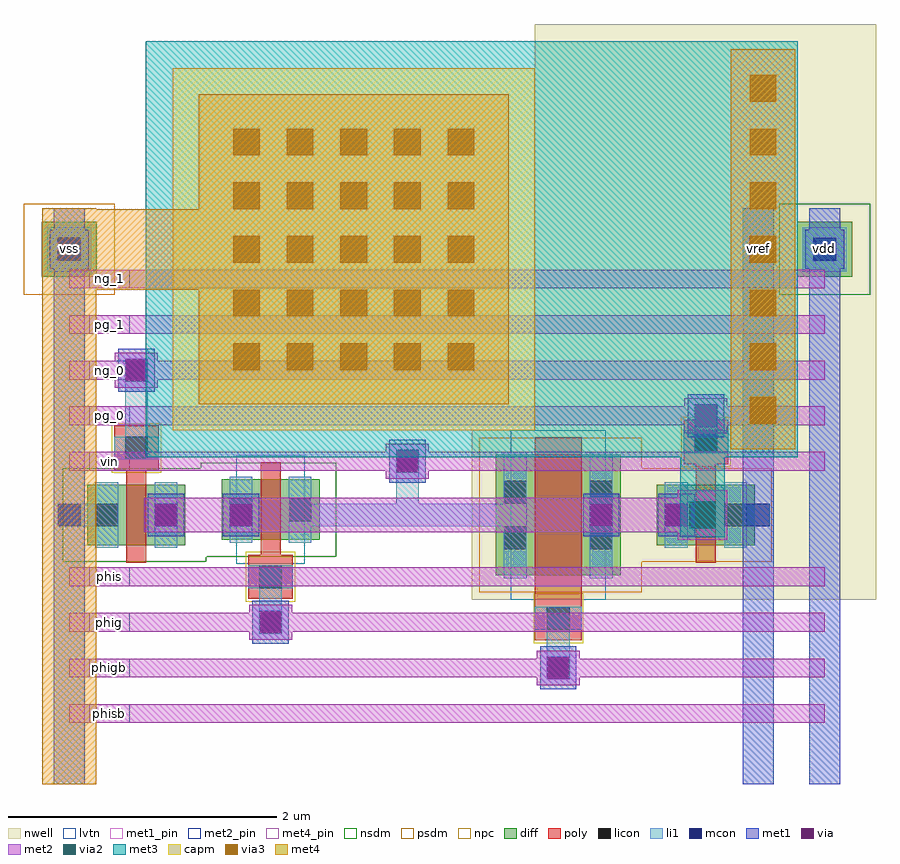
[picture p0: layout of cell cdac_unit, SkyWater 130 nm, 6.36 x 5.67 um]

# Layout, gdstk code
import gdstk
lib = gdstk.Library(unit=1e-6, precision=5e-09)
def R(c, l, rs):  # rectangles x0, y0, x1, y1
    for r in rs: c.add(gdstk.rectangle(r[:2], r[2:], *l))
def A(c, l, x, y, w, h, nx, ny, dx, dy):  # array of equal rectangles
    R(c, l, [(x+i*dx, y+j*dy, x+i*dx+w, y+j*dy+h) for i in range(nx) for j in range(ny)])
nwell = (64, 20)
diff = (65, 20)
poly = (66, 20)
licon = (66, 44)
li1 = (67, 20)
mcon = (67, 44)
met1_pin = (68, 16)
met1 = (68, 20)
via = (68, 44)
met2_pin = (69, 16)
met2 = (69, 20)
via2 = (69, 44)
met3 = (70, 20)
via3 = (70, 44)
met4_pin = (71, 16)
met4 = (71, 20)
capm = (89, 44)
nsdm = (93, 44)
psdm = (94, 20)
npc = (95, 20)
lvtn = (125, 44)

cdac_unit = lib.new_cell('cdac_unit')
R(cdac_unit, nwell, [(3,1.375,6.015,2.635), (3.47,1.375,6.015,5.665)])
R(cdac_unit, diff, [(3.18,1.555,4.11,2.455), (0.135,1.78,0.865,2.23), (4.38,1.78,5.11,2.23), (1.135,1.82,1.865,2.27), (-0.205,3.78,0.205,4.19), (5.425,3.78,5.835,4.19)])
R(cdac_unit, poly, [(3.47,1.07,3.82,2.585), (1.335,1.38,1.665,1.71), (0.425,1.65,0.575,2.34), (4.67,1.65,4.82,2.385), (1.425,1.71,1.575,2.4), (0.335,2.34,0.665,2.67), (4.58,2.385,4.91,2.715)])
R(cdac_unit, licon, [(3.56,1.15,3.73,1.32), (1.415,1.46,1.585,1.63), (3.24,1.75,3.41,1.92), (3.88,1.75,4.05,1.92), (0.195,1.92,0.365,2.09), (0.635,1.92,0.805,2.09), (4.44,1.92,4.61,2.09), (4.88,1.92,5.05,2.09), (1.195,1.96,1.365,2.13), (1.635,1.96,1.805,2.13), (3.24,2.09,3.41,2.26), (3.88,2.09,4.05,2.26), (0.415,2.42,0.585,2.59), (4.66,2.465,4.83,2.635), (-0.085,3.9,0.085,4.07), (5.545,3.9,5.715,4.07)])
R(cdac_unit, li1, [(3.56,0.78,3.73,1.32), (1.415,1.12,1.585,1.63), (3.47,1.15,3.82,1.32), (1.335,1.46,1.665,1.63), (3.24,1.535,3.41,2.475), (3.88,1.535,4.05,2.475), (0.195,1.76,0.365,2.25), (0.635,1.76,0.805,2.25), (4.44,1.76,4.61,2.25), (4.88,1.76,5.05,2.25), (1.195,1.8,1.365,2.29), (1.635,1.8,1.805,2.29), (-0.085,1.92,0.28,2.09), (1.72,1.92,3.325,2.09), (4.965,1.92,5.22,2.09), (2.435,2.005,2.605,2.49), (0.335,2.42,0.665,2.59), (0.415,2.42,0.585,3.17), (4.58,2.465,4.91,2.635), (4.66,2.465,4.83,2.83), (-0.165,3.82,0.165,4.15), (5.465,3.82,5.795,4.15)])
R(cdac_unit, mcon, [(3.56,0.78,3.73,0.95), (1.415,1.12,1.585,1.29), (-0.085,1.92,0.085,2.09), (0.635,1.92,0.805,2.09), (1.195,1.92,1.365,2.09), (3.88,1.92,4.05,2.09), (4.44,1.92,4.61,2.09), (5.05,1.92,5.22,2.09), (2.435,2.32,2.605,2.49), (4.66,2.66,4.83,2.83), (0.415,3,0.585,3.17), (-0.085,3.9,0.085,4.07), (5.545,3.9,5.715,4.07)])
R(cdac_unit, met1_pin, [(-0.07,3.84,0.07,4.14), (5.065,3.84,5.205,4.14), (5.56,3.84,5.7,4.14)])
R(cdac_unit, met1, [(-0.115,0,0.115,4.29), (5.02,0,5.25,4.29), (5.515,0,5.745,4.29), (3.51,0.705,3.78,1.025), (1.365,1.045,1.635,1.365), (0.585,1.845,0.855,2.165), (1.145,1.845,1.415,2.165), (3.83,1.845,4.1,2.165), (4.39,1.845,4.66,2.165), (-0.115,1.865,0.115,2.145), (5.02,1.865,5.25,2.145), (2.385,2.245,2.655,2.565), (4.61,2.585,4.88,2.905), (0.365,2.925,0.635,3.245), (-0.145,3.84,0.145,4.13), (5.485,3.84,5.775,4.13)])
R(cdac_unit, via, [(3.57,0.79,3.72,0.94), (1.425,1.13,1.575,1.28), (0.645,1.93,0.795,2.08), (1.205,1.93,1.355,2.08), (3.89,1.93,4.04,2.08), (4.45,1.93,4.6,2.08), (2.445,2.33,2.595,2.48), (4.67,2.67,4.82,2.82), (0.425,3.01,0.575,3.16)])
A(cdac_unit, met2_pin, 0.15, 0.455, 0.3, 0.14, 1, 4, 0, 0.34)
A(cdac_unit, met2_pin, 0.15, 2.335, 0.3, 0.14, 1, 5, 0, 0.34)
A(cdac_unit, met2, 0, 0.455, 5.63, 0.14, 1, 4, 0, 0.34)
A(cdac_unit, met2, 0, 2.335, 5.63, 0.14, 1, 5, 0, 0.34)
R(cdac_unit, met2, [(3.485,0.735,3.805,0.995), (1.34,1.075,1.66,1.335), (4.535,1.82,4.905,2.19), (0.56,1.875,0.88,2.135), (0.56,1.875,4.905,2.135), (1.12,1.875,1.44,2.135), (3.805,1.875,4.125,2.135), (4.365,1.875,4.685,2.135), (2.36,2.275,2.68,2.535), (4.585,2.615,4.905,2.875), (0.34,2.955,0.66,3.215)])
R(cdac_unit, via2, [(4.62,1.905,4.82,2.105)])
R(cdac_unit, met3, [(4.555,1.84,4.885,2.635), (0.57,2.435,5.43,5.535)])
A(cdac_unit, via3, 5.07, 2.685, 0.2, 0.2, 1, 7, 0, 0.4)
A(cdac_unit, via3, 1.22, 3.085, 0.2, 0.2, 5, 5, 0.4, 0.4)
R(cdac_unit, met4_pin, [(-0.15,3.91,0.15,4.07)])
R(cdac_unit, met4, [(-0.2,0,0.2,4.29), (4.93,2.495,5.41,5.475), (0.965,2.83,3.275,5.14), (0,3.685,1.165,4.285)])
R(cdac_unit, capm, [(0.77,2.635,3.47,5.335)])
R(cdac_unit, nsdm, [(-0.05,1.655,0.02,2.355), (0.01,1.655,0.99,2.355), (0.98,1.655,1.02,2.395), (1.01,1.695,1.99,2.395), (5.29,3.645,5.97,4.325)])
R(cdac_unit, psdm, [(3.055,1.43,4.235,2.58), (4.225,1.43,4.265,2.58), (4.255,1.655,5.235,2.355), (-0.34,3.645,0.34,4.325)])
R(cdac_unit, npc, [(3.46,1.05,3.83,1.42), (1.315,1.36,1.685,1.73), (0.315,2.32,0.685,2.69), (4.56,2.365,4.93,2.735)])
R(cdac_unit, lvtn, [(3.29,1.375,4,2.635), (1.245,1.64,1.755,2.45)])
cdac_unit.add(gdstk.Label('phisb', (0.3,0.525), layer=69, texttype=5))
cdac_unit.add(gdstk.Label('phigb', (0.3,0.865), layer=69, texttype=5))
cdac_unit.add(gdstk.Label('phig', (0.3,1.205), layer=69, texttype=5))
cdac_unit.add(gdstk.Label('phis', (0.3,1.545), layer=69, texttype=5))
cdac_unit.add(gdstk.Label('pg_0', (0.3,2.745), layer=69, texttype=5))
cdac_unit.add(gdstk.Label('ng_0', (0.3,3.085), layer=69, texttype=5))
cdac_unit.add(gdstk.Label('pg_1', (0.3,3.425), layer=69, texttype=5))
cdac_unit.add(gdstk.Label('ng_1', (0.3,3.765), layer=69, texttype=5))
cdac_unit.add(gdstk.Label('vin', (0.3,2.405), layer=69, texttype=5))
cdac_unit.add(gdstk.Label('vss', (0,3.99), layer=68, texttype=5))
cdac_unit.add(gdstk.Label('vref', (5.135,3.99), layer=68, texttype=5))
cdac_unit.add(gdstk.Label('vdd', (5.63,3.99), layer=68, texttype=5))
cdac_unit.add(gdstk.Label('top', (0,3.99), layer=71, texttype=5))

lib.write_gds('cdac_unit.gds')
